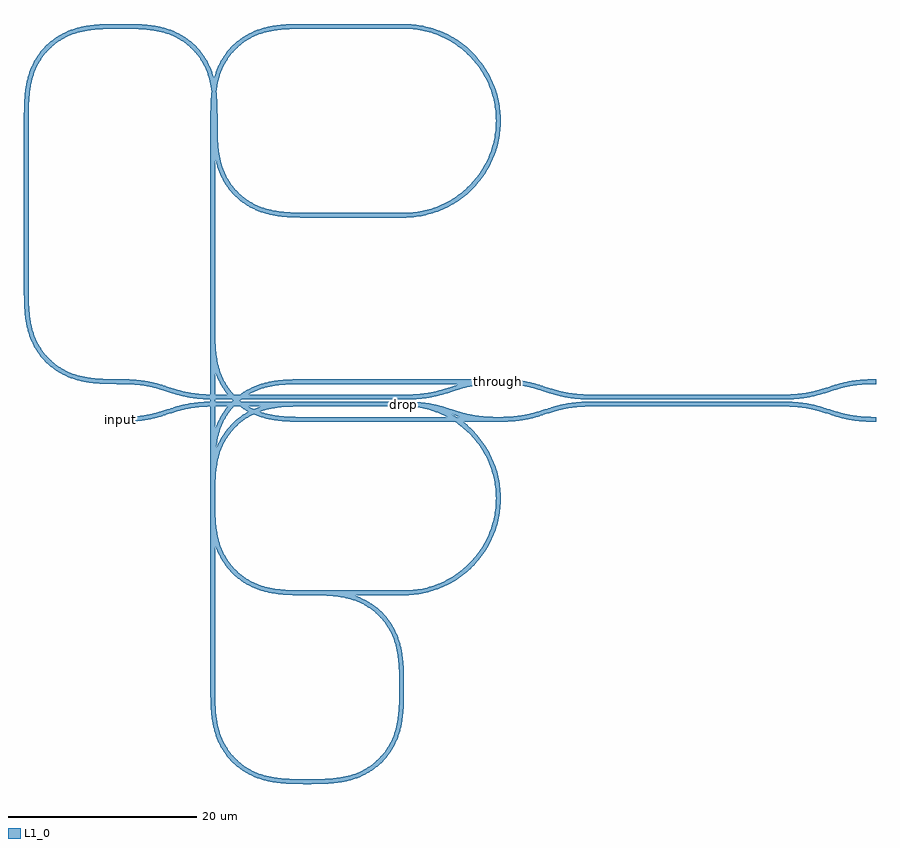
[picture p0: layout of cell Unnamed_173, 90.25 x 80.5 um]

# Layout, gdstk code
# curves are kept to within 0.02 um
from math import pi, radians
import gdstk
lib = gdstk.Library(unit=1e-6, precision=1e-09)
def R(c, l, rs):  # rectangles x0, y0, x1, y1
    for r in rs: c.add(gdstk.rectangle(r[:2], r[2:], *l))
def P(c, l, *ps):  # polygons
    for p in ps: c.add(gdstk.Polygon(p, *l))
L1_0 = (1, 0)

coupler_gdsfactorypcompo = lib.new_cell('coupler_gdsfactorypcomponentspcouplerspcoupler_G0p236_L_75dd060a')
P(coupler_gdsfactorypcompo, L1_0, [(-10,-1.882),(-10,-1.382),(-8.633,-1.335),(-7.417,-1.193),(-6.249,-0.938),(-4.05,-0.258),(-3.065,-0.019),(-1.652,0.182),(-0.303,0.248),(20,0.25),(21.144,0.219),(22.346,0.103),(23.349,-0.08),(24.296,-0.33),(26.086,-0.893),(27.222,-1.159),(28.511,-1.326),(30,-1.382),(30,-1.882),(28.856,-1.851),(27.877,-1.764),(27.032,-1.632),(26.291,-1.466),(23.994,-0.762),(23.059,-0.528),(22.062,-0.364),(20.854,-0.267),(-0.297,-0.252),(-1.725,-0.327),(-3.059,-0.528),(-3.994,-0.762),(-6.034,-1.397),(-7.335,-1.686),(-8.597,-1.834)],
  [(0,0.486),(-1.403,0.534),(-2.665,0.682),(-3.796,0.925),(-6.086,1.629),(-7.126,1.877),(-8.511,2.062),(-10,2.118),(-10,2.618),(-8.597,2.57),(-7.335,2.422),(-6.204,2.179),(-3.914,1.475),(-2.874,1.227),(-1.489,1.042),(0,0.986),(20,0.986),(21.116,1.016),(22.17,1.114),(23.24,1.303),(24.152,1.545),(25.95,2.11),(27.032,2.368),(28.348,2.55),(30,2.618),(30,2.118),(28.511,2.062),(27.222,1.895),(26.086,1.629),(24.296,1.066),(23.532,0.858),(22.56,0.665),(21.403,0.534),(20,0.486)])

bend_circular_gdsfactory = lib.new_cell('bend_circular_gdsfactorypcomponentspbendspbend_circular_4b1750de')
P(bend_circular_gdsfactory, L1_0, [(0,-0.25),(0,0.25),(1.232,0.328),(2.204,0.502),(3.154,0.774),(4.294,1.246),(4.946,1.598),(5.771,2.141),(6.536,2.765),(7.067,3.283),(7.71,4.032),(8.141,4.635),(8.642,5.486),(9.054,6.383),(9.374,7.318),(9.597,8.28),(9.722,9.26),(9.75,10),(9.722,10.74),(9.597,11.72),(9.374,12.682),(9.054,13.617),(8.642,14.514),(8.141,15.365),(7.71,15.968),(7.067,16.717),(6.536,17.235),(5.771,17.859),(4.946,18.402),(4.294,18.754),(3.154,19.226),(2.204,19.498),(1.232,19.672),(0,19.75),(0,20.25),(1.037,20.197),(2.063,20.04),(2.82,19.855),(3.802,19.519),(4.746,19.085),(5.641,18.558),(6.477,17.944),(7.248,17.248),(7.944,16.477),(8.558,15.641),(9.085,14.746),(9.519,13.802),(9.855,12.82),(10.04,12.063),(10.197,11.037),(10.25,10),(10.197,8.963),(10.04,7.937),(9.855,7.18),(9.519,6.198),(9.085,5.254),(8.558,4.359),(7.944,3.523),(7.248,2.752),(6.477,2.056),(5.641,1.442),(4.746,0.915),(3.802,0.481),(2.82,0.145),(2.063,-0.04),(1.037,-0.197)])

bend_euler_gdsfactorypco = lib.new_cell('bend_euler_gdsfactorypcomponentspbendspbend_euler_R10_A_335c8724')
P(bend_euler_gdsfactorypco, L1_0, [(0,-0.25),(0,0.25),(1.655,0.269),(2.881,0.353),(3.952,0.52),(4.99,0.806),(5.731,1.113),(6.431,1.505),(7.079,1.976),(7.575,2.425),(8.024,2.921),(8.495,3.569),(8.887,4.269),(9.194,5.01),(9.48,6.048),(9.647,7.119),(9.731,8.345),(9.75,10),(10.25,10),(10.235,8.468),(10.158,7.205),(10.023,6.224),(9.797,5.254),(9.457,4.312),(9.066,3.545),(8.5,2.715),(7.928,2.072),(7.285,1.5),(6.455,0.934),(5.688,0.543),(4.746,0.203),(3.776,-0.023),(2.795,-0.158),(1.532,-0.235)])

straight_gdsfactorypcomp = lib.new_cell('straight_gdsfactorypcomponentspwaveguidespstraight_L17p_9b503d21')
R(straight_gdsfactorypcomp, L1_0, [(0,-0.25,17.632,0.25)])

c_straight_gdsfactorypcomp = lib.new_cell('straight_gdsfactorypcomponentspwaveguidespstraight_L10__d72987f6')
R(c_straight_gdsfactorypcomp, L1_0, [(0,-0.25,10,0.25)])

c_straight_gdsfactorypcomp_ = lib.new_cell('straight_gdsfactorypcomponentspwaveguidespstraight_L10p_f8441c0e')
R(c_straight_gdsfactorypcomp_, L1_0, [(0,-0.25,10.25,0.25)])

c_straight_gdsfactorypcomp__ = lib.new_cell('straight_gdsfactorypcomponentspwaveguidespstraight_L21p_4de02796')
R(c_straight_gdsfactorypcomp__, L1_0, [(0,-0.25,21.632,0.25)])

c_straight_gdsfactorypcomp___ = lib.new_cell('straight_gdsfactorypcomponentspwaveguidespstraight_L20p_992d5ae8')
R(c_straight_gdsfactorypcomp___, L1_0, [(0,-0.25,20.25,0.25)])

c_straight_gdsfactorypcomp____ = lib.new_cell('straight_gdsfactorypcomponentspwaveguidespstraight_L40__6a25f6ed')
R(c_straight_gdsfactorypcomp____, L1_0, [(0,-0.25,40,0.25)])

c_straight_gdsfactorypcomp_____ = lib.new_cell('straight_gdsfactorypcomponentspwaveguidespstraight_L20__1d537c51')
R(c_straight_gdsfactorypcomp_____, L1_0, [(0,-0.25,20,0.25)])

c_straight_gdsfactorypcomp______ = lib.new_cell('straight_gdsfactorypcomponentspwaveguidespstraight_L2p3_dec101ed')
R(c_straight_gdsfactorypcomp______, L1_0, [(0,-0.25,2.368,0.25)])

unnamed_173 = lib.new_cell('Unnamed_173')
P(unnamed_173, L1_0, [(-10,-1.882),(-10.25,-1.632),(-10.062,-1.444),(-10.025,-1.444),(-10.215,-1.632),(-10.025,-1.632),(-10.025,-1.444),(-10.062,-1.444),(-10,-1.382)],
  [(30,2.118),(29.75,2.368),(29.938,2.556),(29.975,2.556),(29.785,2.368),(29.975,2.368),(29.975,2.556),(29.938,2.556),(30,2.618)],
  [(20,-0.25),(19.75,0),(19.938,0.188),(19.975,0.188),(19.785,0),(19.975,0),(19.975,0.188),(19.938,0.188),(20,0.25)])
unnamed_173.add(gdstk.Reference(coupler_gdsfactorypcompo, (0,0)))
unnamed_173.add(gdstk.Reference(coupler_gdsfactorypcompo, (40,0)))
unnamed_173.add(gdstk.Reference(bend_circular_gdsfactory, (20,20)))
unnamed_173.add(gdstk.Reference(bend_circular_gdsfactory, (20,-20)))
unnamed_173.add(gdstk.Reference(bend_euler_gdsfactorypco, (-20,12.368), rotation=3*pi/2))
unnamed_173.add(gdstk.Reference(bend_euler_gdsfactorypco, (-10,40), rotation=pi))
unnamed_173.add(gdstk.Reference(straight_gdsfactorypcomp, (-20,12.368), rotation=pi/2))
unnamed_173.add(gdstk.Reference(bend_euler_gdsfactorypco, (0,30), rotation=pi/2))
unnamed_173.add(gdstk.Reference(bend_euler_gdsfactorypco, (10,20), rotation=pi, x_reflection=True))
unnamed_173.add(gdstk.Reference(c_straight_gdsfactorypcomp, (10,20)))
unnamed_173.add(gdstk.Reference(bend_euler_gdsfactorypco, (-0.25,30), rotation=pi/2, x_reflection=True))
unnamed_173.add(gdstk.Reference(c_straight_gdsfactorypcomp_, (20,40), rotation=pi))
unnamed_173.add(gdstk.Reference(bend_euler_gdsfactorypco, (9.75,-1.632), rotation=pi, x_reflection=True))
unnamed_173.add(gdstk.Reference(c_straight_gdsfactorypcomp__, (-0.25,30), rotation=3*pi/2))
unnamed_173.add(gdstk.Reference(c_straight_gdsfactorypcomp___, (9.75,-1.632)))
unnamed_173.add(gdstk.Reference(bend_euler_gdsfactorypco, (-0.25,30), rotation=pi/2, x_reflection=True))
unnamed_173.add(gdstk.Reference(c_straight_gdsfactorypcomp_, (20,40), rotation=pi))
unnamed_173.add(gdstk.Reference(bend_euler_gdsfactorypco, (9.75,-20), rotation=pi, x_reflection=True))
unnamed_173.add(gdstk.Reference(c_straight_gdsfactorypcomp____, (-0.25,30), rotation=3*pi/2))
unnamed_173.add(gdstk.Reference(c_straight_gdsfactorypcomp_, (9.75,-20)))
unnamed_173.add(gdstk.Reference(bend_euler_gdsfactorypco, (-0.25,-10), rotation=pi/2, x_reflection=True))
unnamed_173.add(gdstk.Reference(c_straight_gdsfactorypcomp_, (20,0), rotation=pi))
unnamed_173.add(gdstk.Reference(bend_euler_gdsfactorypco, (9.75,-40), rotation=pi, x_reflection=True))
unnamed_173.add(gdstk.Reference(c_straight_gdsfactorypcomp_____, (-0.25,-10), rotation=3*pi/2))
unnamed_173.add(gdstk.Reference(bend_euler_gdsfactorypco, (19.75,-30), rotation=3*pi/2, x_reflection=True))
unnamed_173.add(gdstk.Reference(bend_euler_gdsfactorypco, (9.75,-20), x_reflection=True))
unnamed_173.add(gdstk.Reference(bend_euler_gdsfactorypco, (-0.25,-10), rotation=3*pi/2))
unnamed_173.add(gdstk.Reference(bend_euler_gdsfactorypco, (9.75,2.368), rotation=pi))
unnamed_173.add(gdstk.Reference(c_straight_gdsfactorypcomp______, (-0.25,-10), rotation=pi/2))
unnamed_173.add(gdstk.Reference(c_straight_gdsfactorypcomp___, (9.75,2.368)))
unnamed_173.add(gdstk.Label('input', (-10,-1.632), layer=1, texttype=0))
unnamed_173.add(gdstk.Label('through', (30,2.368), layer=1, texttype=0))
unnamed_173.add(gdstk.Label('drop', (20,0), layer=1, texttype=0))

lib.write_gds('Unnamed_173.gds')
